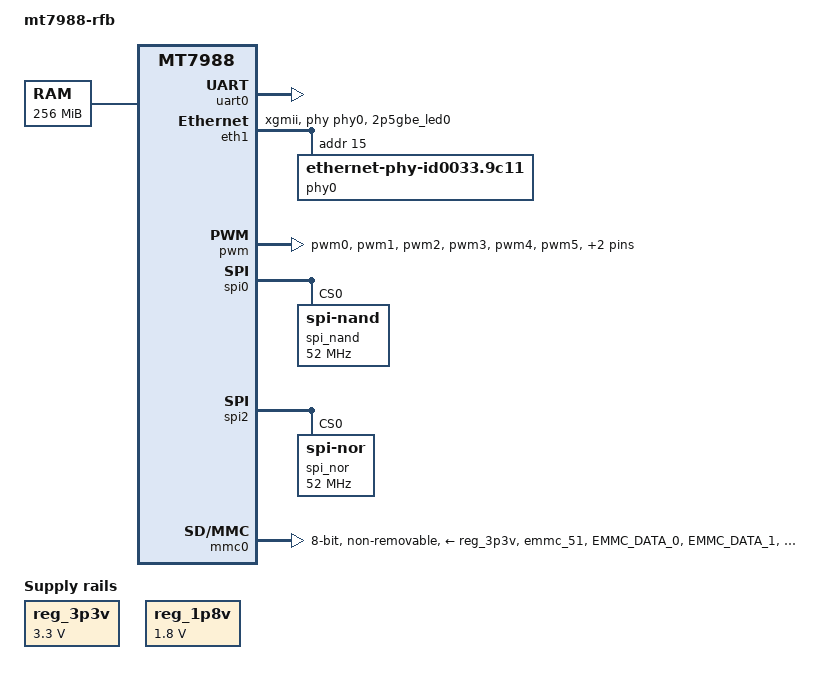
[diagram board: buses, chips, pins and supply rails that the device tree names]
// SPDX-License-Identifier: GPL-2.0
/*
 * Copyright (c) 2022 MediaTek Inc.
 * Author: Sam Shih <sam.shih@mediatek.com>
 */

/dts-v1/;
#include "mt7988.dtsi"
#include <dt-bindings/gpio/gpio.h>

/ {
	model = "mt7988-rfb";
	compatible = "mediatek,mt7988-rfb";
	chosen {
		stdout-path = &uart0;
	};

	memory@40000000 {
		device_type = "memory";
		reg = <0 0x40000000 0 0x10000000>;
	};

	reg_3p3v: regulator-3p3v {
		compatible = "regulator-fixed";
		regulator-name = "fixed-3.3V";
		regulator-min-microvolt = <3300000>;
		regulator-max-microvolt = <3300000>;
		regulator-boot-on;
		regulator-always-on;
	};

	reg_1p8v: regulator-1p8v {
		compatible = "regulator-fixed";
		regulator-name = "fixed-1.8V";
		regulator-min-microvolt = <1800000>;
		regulator-max-microvolt = <1800000>;
		regulator-boot-on;
		regulator-always-on;
	};
};

&uart0 {
	status = "okay";
};

&eth1 {
	status = "okay";
	pinctrl-names = "i2p5gbe-led";
	pinctrl-0 = <&i2p5gbe_led0_pins>;
	phy-mode = "xgmii";
	phy-handle = <&phy0>;

	phy0: ethernet-phy@0 {
		compatible = "ethernet-phy-id0033.9c11";
		reg = <15>;
		phy-mode = "xgmii";
	};
};

&pio {
	i2p5gbe_led0_pins: led0_2p5gbe_pins {
		mux {
			function = "led";
			groups = "2p5gbe_led0";
		};
	};

	pwm_pins: pwm-pins {
		mux {
			function = "pwm";
			groups = "pwm0", "pwm1", "pwm2", "pwm3", "pwm4",
				 "pwm5", "pwm6", "pwm7";
		};
	};

	mmc0_pins_default: mmc0default {
		mux {
			function = "flash";
			groups =  "emmc_51";
		};

		conf-cmd-dat {
			pins = "EMMC_DATA_0", "EMMC_DATA_1", "EMMC_DATA_2",
			       "EMMC_DATA_3", "EMMC_DATA_4", "EMMC_DATA_5",
			       "EMMC_DATA_6", "EMMC_DATA_7", "EMMC_CMD";
			input-enable;
		};

		conf-clk {
			pins = "EMMC_CK";
		};

		conf-dsl {
			pins = "EMMC_DSL";
		};

		conf-rst {
			pins = "EMMC_RSTB";
		};
	};
};

&pwm {
	pinctrl-names = "default";
	pinctrl-0 = <&pwm_pins>;
	status = "okay";
};

&spi0 {
	#address-cells = <1>;
	#size-cells = <0>;
	status = "okay";
	must_tx;
	enhance_timing;
	dma_ext;
	ipm_design;
	support_quad;
	tick_dly = <2>;
	sample_sel = <0>;

	spi_nand@0 {
		compatible = "spi-nand";
		reg = <0>;
		spi-max-frequency = <52000000>;
	};
};

&spi2 {
	#address-cells = <1>;
	#size-cells = <0>;
	status = "okay";
	must_tx;
	enhance_timing;
	dma_ext;
	ipm_design;
	support_quad;
	tick_dly = <2>;
	sample_sel = <0>;

	spi_nor@0 {
		compatible = "jedec,spi-nor";
		reg = <0>;
		spi-max-frequency = <52000000>;
	};
};

&mmc0 {
	pinctrl-names = "default";
	pinctrl-0 = <&mmc0_pins_default>;
	max-frequency = <52000000>;
	bus-width = <8>;
	cap-mmc-highspeed;
	cap-mmc-hw-reset;
	vmmc-supply = <&reg_3p3v>;
	vqmmc-supply = <&reg_1p8v>;
	non-removable;
	status = "okay";
};
